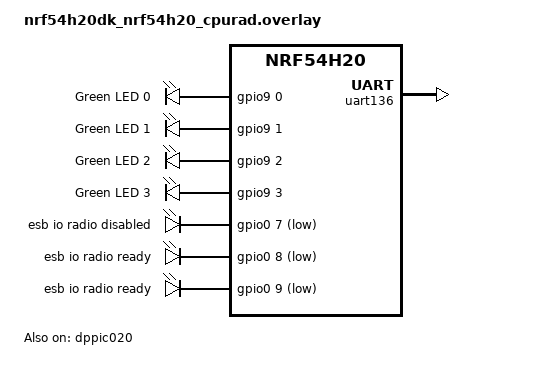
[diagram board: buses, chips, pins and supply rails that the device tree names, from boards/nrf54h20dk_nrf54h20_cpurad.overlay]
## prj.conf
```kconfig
#
# Copyright (c) 2019 Nordic Semiconductor ASA
#
# SPDX-License-Identifier: LicenseRef-Nordic-5-Clause
#
CONFIG_NCS_SAMPLES_DEFAULTS=y
CONFIG_ESB=y
CONFIG_DK_LIBRARY=y
CONFIG_CLOCK_CONTROL=y
CONFIG_ESB_FAST_SWITCHING=y
CONFIG_ESB_FAST_CHANNEL_SWITCHING=y
CONFIG_ESB_RX_FIFO_SIZE=40
CONFIG_ESB_TX_FIFO_SIZE=20

CONFIG_ESB_PTX_TX_LENGTH=12


# 1kHz packet rate
# CONFIG_ESB_PTX_DELAY=1000
# 2kHz packet rate
# CONFIG_ESB_PTX_DELAY=500
# 4kHz packet rate
# CONFIG_ESB_PTX_DELAY=150
CONFIG_ESB_PTX_DELAY=0
#125
CONFIG_SPIN_VALIDATE=n
CONFIG_PM=n
CONFIG_SOC_NRF_FORCE_CONSTLAT=y
CONFIG_TIMESLICING=n
```

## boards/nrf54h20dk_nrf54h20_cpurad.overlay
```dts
/*
 * Copyright (c) 2024 Nordic Semiconductor ASA
 *
 * SPDX-License-Identifier: LicenseRef-Nordic-5-Clause
 */

 / {
	leds {
		compatible = "gpio-leds";

		led0: led_0 {
			gpios = < &gpio9 0 GPIO_ACTIVE_HIGH >;
			label = "Green LED 0";
		};

		led1: led_1 {
			gpios = < &gpio9 1 GPIO_ACTIVE_HIGH >;
			label = "Green LED 1";
		};

		led2: led_2 {
			gpios = < &gpio9 2 GPIO_ACTIVE_HIGH >;
			label = "Green LED 2";
		};

		led3: led_3 {
			gpios = < &gpio9 3 GPIO_ACTIVE_HIGH >;
			label = "Green LED 3";
		};
	};

	aliases {
		led0 = &led0;
		led1 = &led1;
		led2 = &led2;
		led3 = &led3;
	};

	chosen {
		zephyr,console = &uart136;
	};
	esb_gpio {
		compatible = "gpio-leds";
		esb_io_radio_disabled: esb-io-radio-disabled {
			gpios = <&gpio0 7 GPIO_ACTIVE_LOW>;
			label = "esb io radio disabled";
		};
		esb_io_radio_rx: esb-io-radio-rx {
			gpios = <&gpio0 8 GPIO_ACTIVE_LOW>;
			label = "esb io radio ready";
		};
		esb_io_radio_tx: esb-io-radio-tx {
			gpios = <&gpio0 9 GPIO_ACTIVE_LOW>;
			label = "esb io radio ready";
		};
	};

};

&gpio9 {
	status = "okay";
};

&gpio0 {
	status = "okay";
};

&gpiote130 {
	owned-channels = <0 1 2 3 4 5 6 7>;
	status = "okay";
};

&uart136 {
	status = "okay";
	memory-regions = <&cpurad_dma_region>;
};

&uart135 {
	status = "disabled";
};

&dppic020 {
	status = "okay";
	source-channels = < 0 1 2 3 4 5 >;
	sink-channels = < 6 7 8 9 10 11 >;
};
```

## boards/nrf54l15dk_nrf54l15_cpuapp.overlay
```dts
/{
	trace_gpio {
		compatible = "gpio-leds";
		trace0: trace0 {
			gpios = <&gpio2 10 GPIO_ACTIVE_LOW>;
			label = "trace0";
			status = "okay";
		};
	};

	aliases {
		trace0 = &trace0;
	};
};

&led0 {
	status = "okay";
};

&gpio1 {
	status = "okay";
};
&gpio2 {
	status = "okay";
};
```

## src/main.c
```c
/*
 * Copyright (c) 2018 Nordic Semiconductor ASA
 *
 * SPDX-License-Identifier: LicenseRef-Nordic-5-Clause
 */
#include <zephyr/drivers/clock_control.h>
#include <zephyr/drivers/clock_control/nrf_clock_control.h>

#if defined(NRF54L15_XXAA)
#include <hal/nrf_clock.h>
#endif /* defined(NRF54L15_XXAA) */
#include <zephyr/drivers/timer/nrf_grtc_timer.h>
#include <zephyr/drivers/gpio.h>
#include <zephyr/irq.h>
#include <zephyr/logging/log.h>
#include <nrf.h>
#include <esb.h>
#include <zephyr/device.h>
#include <zephyr/devicetree.h>
#include <zephyr/kernel.h>
#include <zephyr/types.h>
#include <dk_buttons_and_leds.h>
#if defined(CONFIG_CLOCK_CONTROL_NRF2)
#include <hal/nrf_lrcconf.h>
#endif
#include <hal/nrf_power.h>
#include <nrfx_clock.h>
#define PROFILE_CACHE 0
#if PROFILE_CACHE
#include <hal/nrf_cache.h>
static uint32_t ihits;
static uint32_t imisses;
#endif
#define CACHE_INVALIDATE 0

#if 0
static void cache_profiling_init(void)
{
#if PROFILE_CACHE
	nrf_cache_profiling_set(NRF_ICACHE, 1);
#endif
}

static void cache_profiling_clear(void)
{
#if PROFILE_CACHE
	nrf_cache_profiling_counters_clear(NRF_ICACHE);
#endif
}

static void cache_stats_update(void)
{	
#if PROFILE_CACHE
	ihits = nrf_cache_data_hit_counter_get(NRF_ICACHE, 0);
	imisses = nrf_cache_data_miss_counter_get(NRF_ICACHE, 0);
#endif
}

static void cache_stats_print(void)
{
#if PROFILE_CACHE
	printf("\tInstr cache hits: %u\n", ihits);
	printf("\tInstr cache misses: %u\n", imisses);
#endif
}
#endif

LOG_MODULE_REGISTER(esb_ptx, CONFIG_ESB_PTX_APP_LOG_LEVEL);

struct main_msg {
	uint32_t type;
	uint32_t cnt;

};

#define MAIN_MSG_TX             0
#define MAIN_MSG_TIMER          1
#define MAIN_MSG_TX_FAIL        2
#define MAIN_MSG_RX             3

struct print_msg {
	uint32_t tx_cnt;
	uint32_t tx_fail_cnt;
	uint32_t rx_cnt;
	int64_t time_cnt;
};

static struct esb_payload rx_payload;
static struct esb_payload tx_payload = ESB_CREATE_PAYLOAD(0, 0x01, 0x02, 0x03, 0x04);
K_MSGQ_DEFINE(main_msgq,
	      sizeof(struct main_msg),
	      64,
	      sizeof(uint32_t));

K_MSGQ_DEFINE(print_msgq,
	      sizeof(struct print_msg),
	      1,
	      sizeof(uint32_t));


static struct k_thread print_thread;
static struct k_thread pd_grind_thread;

static K_THREAD_STACK_DEFINE(print_stack, 512);
static K_THREAD_STACK_DEFINE(pd_grind_stack, 512);

#if CONFIG_ESB_PTX_DELAY > 0
static int32_t timer_chan;
static uint64_t timer_tick;

static int timer_target_set(void);
#endif
static const int8_t hid_xy[][2] = {
	{35,7}, {30,21}, {21,30}, {7,35},
	{-7,35}, {-21,30}, {-30,21}, {-35,7},
	{-35,-7}, {-30,-21}, {-21,-30}, {-7,-35},
	{7,-35}, {21,-30}, {30,-21}, {35,-7}
};

void event_handler(struct esb_evt const *event)
{
	struct main_msg msg;
	int err;

	switch (event->evt_id) {
	case ESB_EVENT_TX_SUCCESS:
		msg.type = MAIN_MSG_TX;
		msg.cnt = 1;
		err = k_msgq_put(&main_msgq, &msg, K_NO_WAIT);
		if (err) {
			LOG_ERR("Cannot put TX done to message queue");
		}
		break;
	case ESB_EVENT_TX_FAILED:
		esb_start_tx();
		msg.type = MAIN_MSG_TX_FAIL;
		msg.cnt = 1;
		err = k_msgq_put(&main_msgq, &msg, K_NO_WAIT);
		if (err) {
			LOG_ERR("Cannot put TX fail to message queue");
		}
		break;
	case ESB_EVENT_RX_RECEIVED:
		msg.type = MAIN_MSG_RX;
		msg.cnt = 0;
		while (esb_read_rx_payload(&rx_payload) == 0) {
			msg.cnt++;

		}

		err = k_msgq_put(&main_msgq, &msg, K_NO_WAIT);
		if (err) {
			LOG_ERR("Cannot put RX count to message queue");
		}

		break;
	}
}

#if defined(CONFIG_CLOCK_CONTROL_NRF)
int clocks_start(void)
{
	int err;
	int res;
	struct onoff_manager *clk_mgr;
	struct onoff_client clk_cli;

	clk_mgr = z_nrf_clock_control_get_onoff(CLOCK_CONTROL_NRF_SUBSYS_HF);
	if (!clk_mgr) {
		LOG_ERR("Unable to get the Clock manager");
		return -ENXIO;
	}

	sys_notify_init_spinwait(&clk_cli.notify);

	err = onoff_request(clk_mgr, &clk_cli);
	if (err < 0) {
		LOG_ERR("Clock request failed: %d", err);
		return err;
	}

	do {
		err = sys_notify_fetch_result(&clk_cli.notify, &res);
		if (!err && res) {
			LOG_ERR("Clock could not be started: %d", res);
			return res;
		}
	} while (err);

	if (nrf54l_errata_20()) {
		nrf_power_task_trigger(NRF_POWER, NRF_POWER_TASK_CONSTLAT);
	}

	LOG_DBG("HF clock started");
	return 0;
}

#elif defined(CONFIG_CLOCK_CONTROL_NRF2)

int clocks_start(void)
{
	int err;
	int res;
	const struct device *radio_clk_dev =
		DEVICE_DT_GET_OR_NULL(DT_CLOCKS_CTLR(DT_NODELABEL(radio)));
	struct onoff_client radio_cli;

	/** Keep radio domain powered all the time to reduce latency. */
	nrf_lrcconf_poweron_force_set(NRF_LRCCONF010, NRF_LRCCONF_POWER_DOMAIN_1, true);

	sys_notify_init_spinwait(&radio_cli.notify);

	err = nrf_clock_control_request(radio_clk_dev, NULL, &radio_cli);

	do {
		err = sys_notify_fetch_result(&radio_cli.notify, &res);
		if (!err && res) {
			LOG_ERR("Clock could not be started: %d", res);
			return res;
		}
	} while (err == -EAGAIN);

	nrf_lrcconf_clock_always_run_force_set(NRF_LRCCONF000, 0, true);
	nrf_lrcconf_task_trigger(NRF_LRCCONF000, NRF_LRCCONF_TASK_CLKSTART_0);

	LOG_DBG("HF clock started");
	return 0;
}

#else
BUILD_ASSERT(false, "No Clock Control driver");
#endif /* defined(CONFIG_CLOCK_CONTROL_NRF2) */

int esb_initialize(void)
{
	int err;
	/* These are arbitrary default addresses. In end user products
	 * different addresses should be used for each set of devices.
	 */
	uint8_t base_addr_0[4] = {0xE7, 0xE7, 0xE7, 0xE7};
	uint8_t base_addr_1[4] = {0xC2, 0xC2, 0xC2, 0xC2};
	uint8_t addr_prefix[8] = {0xE7, 0xC2, 0xC3, 0xC4, 0xC5, 0xC6, 0xC7, 0xC8};

	struct esb_config config = ESB_DEFAULT_CONFIG;

	config.protocol = ESB_PROTOCOL_ESB_DPL;
	config.retransmit_delay = 500;
	config.retransmit_count = 0;
	config.bitrate = ESB_BITRATE_4MBPS;
	config.event_handler = event_handler;
	config.crc = ESB_CRC_16BIT;

	config.mode = ESB_MODE_PTX;
	config.selective_auto_ack = false;
	if (IS_ENABLED(CONFIG_ESB_FAST_SWITCHING)) {
		config.use_fast_ramp_up = true;
	}

	err = esb_init(&config);

	if (err) {
		return err;
	}

	err = esb_set_base_address_0(base_addr_0);
	if (err) {
		return err;
	}

	err = esb_set_base_address_1(base_addr_1);
	if (err) {
		return err;
	}

	err = esb_set_prefixes(addr_prefix, ARRAY_SIZE(addr_prefix));
	if (err) {
		return err;
	}

	err = esb_set_rf_channel(86);
	if (err) {
		return err;
	}

	err = esb_set_tx_power(0);
	if (err) {
		LOG_ERR("Cannot set TX power");
		return err;
	}

	return 0;
}

static void leds_update(uint8_t value)
{
	uint32_t leds_mask =
		(!(value % 8 > 0 && value % 8 <= 4) ? DK_LED1_MSK : 0) |
		(!(value % 8 > 1 && value % 8 <= 5) ? DK_LED2_MSK : 0) |
		(!(value % 8 > 2 && value % 8 <= 6) ? DK_LED3_MSK : 0) |
		(!(value % 8 > 3) ? DK_LED4_MSK : 0);

	dk_set_leds(leds_mask);
}
static void fill_tx_payload_data(struct esb_payload *payload)
{
	static uint8_t tx_data_next;

	payload->data[0] = 0;
	payload->data[1] = hid_xy[tx_data_next][0];
	payload->data[2] = hid_xy[tx_data_next][1];
	payload->data[3] = 0;

	tx_data_next = (tx_data_next + 1 < ARRAY_SIZE(hid_xy)) ? tx_data_next + 1 : 0;

}

static void fill_tx_fifo(void)
{
	int err;
	static bool tx_data_set;

	while (1) {
		if (!tx_data_set) {
			fill_tx_payload_data(&tx_payload);
		}

		err = esb_write_payload(&tx_payload);
		tx_data_set = (!err) ? false : true;
		if (err) {
			break;
		}

#if CONFIG_ESB_PTX_DELAY > 0
		break;
#endif
	}
}

#if CONFIG_ESB_PTX_DELAY > 0
static void timer_compare_handler(int32_t chan_id,
				  uint64_t expire_time,
				  void *user_data)
{
	timer_target_set();

	struct main_msg msg;
	int err;

	msg.type = MAIN_MSG_TIMER;
	err = k_msgq_put(&main_msgq, &msg, K_NO_WAIT);
	if (err) {
		LOG_ERR("Cannot put TIMER count to message queue");
	}
}

static int timer_target_set(void)
{
	int err;

	timer_tick += CONFIG_ESB_PTX_DELAY; // TODO: convert microseconds to timer tick

	err = z_nrf_grtc_timer_set(timer_chan,
				   timer_tick,
				   timer_compare_handler,
				   NULL);

	return err;
}
#endif

static void print_main(void *p1, void *p2, void *p3)
{
	struct print_msg msg;

	/* Process message queue */
	while (!k_msgq_get(&print_msgq, &msg, K_FOREVER)) {
		//cache_stats_print();
		LOG_INF("Sent %u packets. Failed %u packets. Received %u packets.",
			msg.tx_cnt, msg.tx_fail_cnt, msg.rx_cnt);
		LOG_INF("Elapsed %lld milliseconds.", msg.time_cnt);
		//printk("constlat: %u\n", NRF_POWER->CONSTLATSTAT);
	}
}

static void pd_grind(void *p1, void *p2, void *p3)
{
	while(true)
		k_yield();
}

#include <hal/nrf_rramc.h>
#include <hal/nrf_gpio.h>
static const struct gpio_dt_spec trace0 = GPIO_DT_SPEC_GET_OR(DT_ALIAS(trace0), gpios, {0});
static const struct gpio_dt_spec trace1 = GPIO_DT_SPEC_GET_OR(DT_ALIAS(led0), gpios, {0});
static const struct gpio_dt_spec trace2 = GPIO_DT_SPEC_GET_OR(DT_ALIAS(led2), gpios, {0});

int main(void)
{
#if 0
	if (!device_is_ready(trace0.port)) {
		LOG_ERR("GPIO port not ready");
		return 0;
	}
	if (!gpio_is_ready_dt(&trace0)) {
		LOG_ERR("Trace GPIO device not ready");
		return 0;
	}
	if (0 != gpio_pin_configure_dt(&trace0, GPIO_OUTPUT)) {
		LOG_ERR("Cannot configure trace GPIO pin");
		return 0;
	}
	if (!device_is_ready(trace1.port)) {
		LOG_ERR("GPIO port not ready");
		return 0;
	}
	if (!gpio_is_ready_dt(&trace1)) {
		LOG_ERR("Trace GPIO device not ready");
		return 0;
	}
	if (0 != gpio_pin_configure_dt(&trace1, GPIO_OUTPUT)) {
		LOG_ERR("Cannot configure trace GPIO pin");
		return 0;
	}
	if (!device_is_ready(trace2.port)) {
		LOG_ERR("GPIO port not ready");
		return 0;
	}
	if (!gpio_is_ready_dt(&trace2)) {
		LOG_ERR("Trace GPIO device not ready");
		return 0;
	}
	if (0 != gpio_pin_configure_dt(&trace2, GPIO_OUTPUT)) {
		LOG_ERR("Cannot configure trace GPIO pin");
		return 0;
	}

	if (true) {
		gpio_pin_set_dt(&trace0, 0);
		k_sleep(K_MSEC(500));
		gpio_pin_set_dt(&trace0, 1);
		k_sleep(K_MSEC(500));
		gpio_pin_set_dt(&trace0, 0);
		k_sleep(K_MSEC(500));
		gpio_pin_set_dt(&trace0, 1);
		k_sleep(K_MSEC(500));
		for (size_t i = 0; i < 10000; i++) {
			gpio_pin_set_dt(&trace0, 0);
			gpio_pin_set_dt(&trace0, 1);
		}
		for (size_t i = 0; i < 10000; i++) {
			arch_nop();
			arch_nop();
			arch_nop();
			arch_nop();
			arch_nop();
			arch_nop();
			arch_nop();
			arch_nop();
			arch_nop();
			arch_nop();
			compiler_barrier();
		}
		for (size_t i = 0; i < 10000; i++) {
//			gpio_pin_set_dt(&trace0, 0);
			//gpio_pin_set_dt(&trace0, 1);
			nrf_gpio_pin_set(74);
			nrf_gpio_pin_clear(74);
		}
		k_sleep(K_MSEC(2000));
	}

	cache_profiling_init();
	#if 0
			arch_nop();
			arch_nop();
			arch_nop();
			arch_nop();
			arch_nop();
			arch_nop();
			arch_nop();
			arch_nop();
			arch_nop();
			arch_nop();
			arch_nop();
			arch_nop();
			arch_nop();
			arch_nop();
			arch_nop();
			arch_nop();
			arch_nop();
			arch_nop();
			arch_nop();
			arch_nop();
	#endif
#endif
	#if 1
	nrf_rramc_power_t rram_power;
	nrf_rramc_power_config_get(NRF_RRAMC, &rram_power);
	LOG_INF("RRAM power access timeout %d", rram_power.access_timeout);
	rram_power.access_timeout = 0xFFFF;//8192; // 8192 * 31.25 ns = 256 us
	nrf_rramc_power_config_set(NRF_RRAMC, &rram_power);
	LOG_INF("RRAM power access timeout set to %d", rram_power.access_timeout);
	#endif

	int err;

	LOG_INF("Enhanced ShockBurst ptx sample");

	err = clocks_start();
	if (err) {
		return 0;
	}

	#if 0
	err = dk_leds_init();
	if (err) {
		LOG_ERR("LEDs initialization failed, err %d", err);
		return 0;
	}
	#endif

	err = esb_initialize();
	if (err) {
		LOG_ERR("ESB initialization failed, err %d", err);
		return 0;
	}

	k_thread_create(&print_thread,
			print_stack,
			K_THREAD_STACK_SIZEOF(print_stack),
			print_main,
			NULL,
			NULL,
			NULL,
			1,//K_LOWEST_APPLICATION_THREAD_PRIO,
			0,
			K_NO_WAIT);

#if 1 //fixes the problem but will burn power
	k_thread_create(&pd_grind_thread,
			pd_grind_stack,
			K_THREAD_STACK_SIZEOF(pd_grind_stack),
			pd_grind,
			NULL,
			NULL,
			NULL,
			2,//K_LOWEST_APPLICATION_THREAD_PRIO,
			0,
			K_NO_WAIT);
#endif


#if CONFIG_ESB_PTX_DELAY > 0
	timer_chan = z_nrf_grtc_timer_chan_alloc();
	if (timer_chan < 0) {
		LOG_ERR("Cannot get a timer channel");
		return 0;
	}
#endif

	LOG_INF("Initialization complete");
	LOG_INF("Sending test packet");

	tx_payload.length = CONFIG_ESB_PTX_TX_LENGTH;
	fill_tx_payload_data(&tx_payload);
	tx_payload.noack = false;

#if CONFIG_ESB_PTX_DELAY > 0
	timer_tick = z_nrf_grtc_timer_read();
	timer_target_set();
#endif

	uint32_t tx_event_cnt = 0;
	uint32_t tx_fail_cnt = 0;
	uint32_t rx_fifo_cnt = 0;

	#if 0 // does not change anything
	z_nrf_clock_bt_ctlr_hf_request();
	nrfx_clock_hfclk_start();
	nrfx_clock_hfclk_is_running();
	#endif
	struct main_msg msg;	
	while (1) {
		int64_t time_cnt;

		time_cnt = k_uptime_get();
#if CACHE_INVALIDATE
		sys_cache_instr_flush_and_invd_all();
		__sync_synchronize();
#endif
		//cache_profiling_clear();

#if !CONFIG_ESB_PTX_DELAY
		fill_tx_fifo();
#endif

		do {
			k_msgq_get(&main_msgq, &msg, K_FOREVER);
			do {
				switch(msg.type) {
				case MAIN_MSG_TX_FAIL:
					tx_fail_cnt += msg.cnt;
				case MAIN_MSG_TX:
					tx_event_cnt += msg.cnt;
#if !CONFIG_ESB_PTX_DELAY
					fill_tx_fifo();
#endif
					break;
#if CONFIG_ESB_PTX_DELAY > 0
				case MAIN_MSG_TIMER:
					fill_tx_fifo();
					break;
#endif
				case MAIN_MSG_RX:
					rx_fifo_cnt += msg.cnt;
					break;
				default:
					break;
				}
			} while (!k_msgq_get(&main_msgq, &msg, K_NO_WAIT));
		} while (tx_event_cnt < 1000/*CONFIG_ESB_PTX_BATCH_SIZE*/);

		//cache_stats_update();
		time_cnt = k_uptime_delta(&time_cnt);
		//gpio_pin_toggle(trace0.port, trace0.pin);

		struct print_msg prt_msg;

		prt_msg.tx_cnt = tx_event_cnt;
		tx_event_cnt = 0;
		prt_msg.tx_fail_cnt = tx_fail_cnt;
		tx_fail_cnt = 0;
		prt_msg.rx_cnt = rx_fifo_cnt;
		rx_fifo_cnt = 0;
		prt_msg.time_cnt = time_cnt;

		err = k_msgq_put(&print_msgq, &prt_msg, K_NO_WAIT);
		if (err) {
			LOG_ERR("Cannot put PTX statistics to message queue");
		}
	}
}
```
